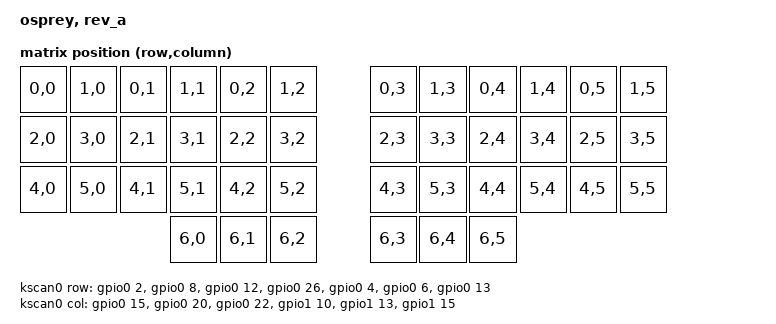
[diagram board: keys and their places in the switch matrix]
/*
 * Copyright (c) 2020 The ZMK Contributors
 *
 * SPDX-License-Identifier: MIT
 */

/dts-v1/;
#include <nordic/nrf52840_qiaa.dtsi>
#include <dt-bindings/zmk/matrix_transform.h>

/ {
	model = "osprey, rev_a";
	compatible = "osprey,rev_a";

	chosen {
		zephyr,code-partition = &code_partition;
		zephyr,sram = &sram0;
		zephyr,flash = &flash0;
		zmk,battery = &fuelgauge;
		zmk,kscan = &kscan0;
		zmk,matrix_transform = &default_transform;
		/* zephyr,console = &cdc_acm_uart; */
	};

	default_transform: keymap_transform_0 {
		compatible = "zmk,matrix-transform";
		columns = <12>;
		rows = <4>;
		map = <
			RC(0,0)	RC(1,0)	RC(0,1)	RC(1,1)	RC(0,2)	RC(1,2)	RC(0,3)	RC(1,3)	RC(0,4)	RC(1,4)	RC(0,5)	RC(1,5)
			RC(2,0)	RC(3,0)	RC(2,1)	RC(3,1)	RC(2,2)	RC(3,2)	RC(2,3)	RC(3,3)	RC(2,4)	RC(3,4)	RC(2,5)	RC(3,5)
			RC(4,0)	RC(5,0)	RC(4,1)	RC(5,1)	RC(4,2)	RC(5,2)	RC(4,3)	RC(5,3)	RC(4,4)	RC(5,4)	RC(4,5)	RC(5,5)
									RC(6,0)	RC(6,1)	RC(6,2)	RC(6,3)	RC(6,4)	RC(6,5)
			>;
	};

 
	kscan0: kscan {
		compatible = "zmk,kscan-gpio-matrix";
		label = "KSCAN";
		diode-direction = "col2row";
		row-gpios
			= <&gpio0  2 (GPIO_ACTIVE_HIGH | GPIO_PULL_DOWN)>
			, <&gpio0  8 (GPIO_ACTIVE_HIGH | GPIO_PULL_DOWN)>
			, <&gpio0 12 (GPIO_ACTIVE_HIGH | GPIO_PULL_DOWN)>
			, <&gpio0 26 (GPIO_ACTIVE_HIGH | GPIO_PULL_DOWN)>
			, <&gpio0  4 (GPIO_ACTIVE_HIGH | GPIO_PULL_DOWN)>
			, <&gpio0  6 (GPIO_ACTIVE_HIGH | GPIO_PULL_DOWN)>
			, <&gpio0 13 (GPIO_ACTIVE_HIGH | GPIO_PULL_DOWN)>
			;
		col-gpios
			= <&gpio0 15 GPIO_ACTIVE_HIGH>
			, <&gpio0 20 GPIO_ACTIVE_HIGH>
			, <&gpio0 22 GPIO_ACTIVE_HIGH>
			, <&gpio1 10 GPIO_ACTIVE_HIGH>
			, <&gpio1 13 GPIO_ACTIVE_HIGH>
			, <&gpio1 15 GPIO_ACTIVE_HIGH>
			;
	};
};

&gpio0 {
	status = "okay";
};

&gpio1 {
	status = "okay";
};

&usbd {
    status = "okay";
/*     cdc_acm_uart: cdc_acm_uart {
        compatible = "zephyr,cdc-acm-uart";
        label = "CDC_ACM_0";
    }; */
};

&pinctrl {
       i2c0_default: i2c0_default {
               group1 {
                       psels = <NRF_PSEL(TWIM_SDA, 0, 24)>,
                               <NRF_PSEL(TWIM_SCL, 0, 32)>;
               };
       };

       i2c0_sleep: i2c0_sleep {
               group1 {
                       psels = <NRF_PSEL(TWIM_SDA, 0, 24)>,
                               <NRF_PSEL(TWIM_SCL, 0, 32)>;
                       low-power-enable;
               };
       };
};

&i2c0 {
	status = "okay";
	compatible = "nordic,nrf-twim";
	pinctrl-0 = <&i2c0_default>;
    pinctrl-1 = <&i2c0_sleep>;
    pinctrl-names = "default", "sleep";
	clock-frequency = <100000>;

	fuelgauge: max17048@36 {
		compatible = "maxim,max17048";
		label = "BATTERY";
		reg = <0x36>;
	};
};

&flash0 {
	/*
	 * For more information, see:
	 * http://docs.zephyrproject.org/latest/devices/dts/flash_partitions.html
	 */
	partitions {
		compatible = "fixed-partitions";
		#address-cells = <1>;
		#size-cells = <1>;

		sd_partition: partition@0 {
			label = "softdevice";
			reg = <0x00000000 0x00026000>;
		};
		code_partition: partition@26000 {
			label = "code_partition";
			reg = <0x00026000 0x000c6000>;
		};

		/*
		 * The flash starting at 0x000ec000 and ending at
		 * 0x000f3fff is reserved for use by the application.
		 */

		/*
		 * Storage partition will be used by FCB/LittleFS/NVS
		 * if enabled.
		 */
		storage_partition: partition@ec000 {
			label = "storage";
			reg = <0x000ec000 0x00008000>;
		};

		boot_partition: partition@f4000 {
			label = "adafruit_boot";
			reg = <0x000f4000 0x0000c000>;
		};
	};
};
